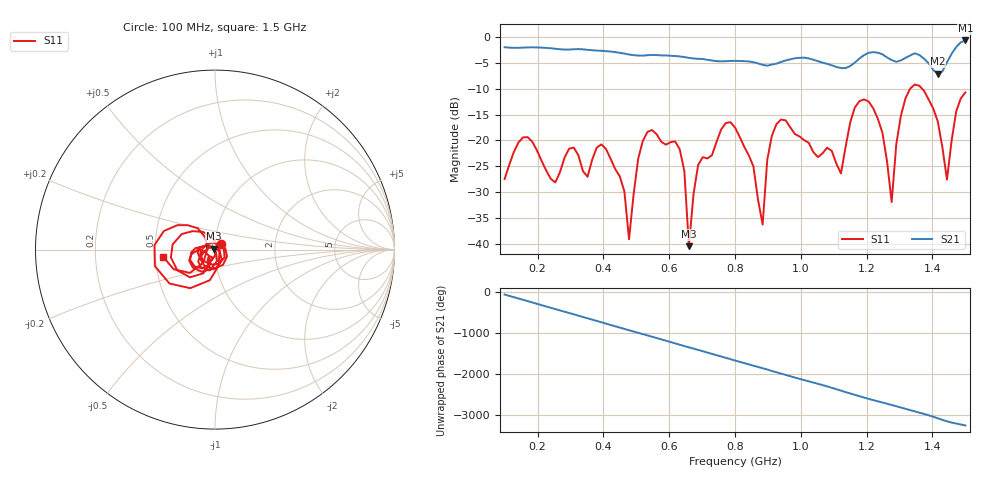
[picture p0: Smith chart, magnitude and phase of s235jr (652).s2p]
! NanoVNA-App
! Date: 2025-09-25 15:09:15
! Start: 100MHz Stop: 1,5GHz Points: 101
! S-Parameter data: F S11 S21 S12 S22
# Hz S RI R 50
!  Frequency  S11_Real  S11_Imag  S21_Real  S21_Imag  S12_Real  S12_Imag  S22_Real  S22_Imag
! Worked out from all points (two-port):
!   101 points, 100 MHz to 1.5 GHz, reference 50 ohm
!   highest |S21| = -0.65 dB at 1.5 GHz (marker M1); lowest = -7.1 dB at 1.416 GHz (marker M2)
!   |S21| within 3 dB of the highest: start of sweep to 615.5 MHz; 1.189 GHz to 1.255 GHz (66.59 MHz wide, 5.45 % of centre) (the widest 2 of 4)
!   lowest |S11| = -40.5 dB at 660 MHz (marker M3), VSWR 1.02, Z = 49.2 + j0.54 ohm
!   |S11| at or under -10 dB: start of sweep to 1.332 GHz; 1.369 GHz to end of sweep
!   S12 and S22 are empty: the file has one direction only
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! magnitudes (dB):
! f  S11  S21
! 100 MHz  -27.5  -2.0
! 156 MHz  -19.4  -2.0
! 338 MHz  -25.9  -2.4
! 408 MHz  -21.7  -2.7
! 478 MHz  -39.1  -3.4
! 520 MHz  -20.1  -3.6
! 576 MHz  -20.3  -3.5
! 632 MHz  -21.7  -3.7
! 660 MHz  -40.5  -4.0
! 688 MHz  -24.8  -4.2
! 800 MHz  -17.5  -4.6
! 884 MHz  -36.3  -5.4
! 898 MHz  -23.8  -5.5
! 926 MHz  -16.8  -5.1
! 1.038 GHz  -22.3  -4.4
! 1.122 GHz  -26.4  -6.0
! 1.206 GHz  -12.5  -3.0
! 1.276 GHz  -31.9  -4.5
! 1.332 GHz  -10.0  -3.6
! 1.416 GHz  -16.3  -7.1
! 1.444 GHz  -27.6  -4.9
! 1.5 GHz  -10.7  -0.7
